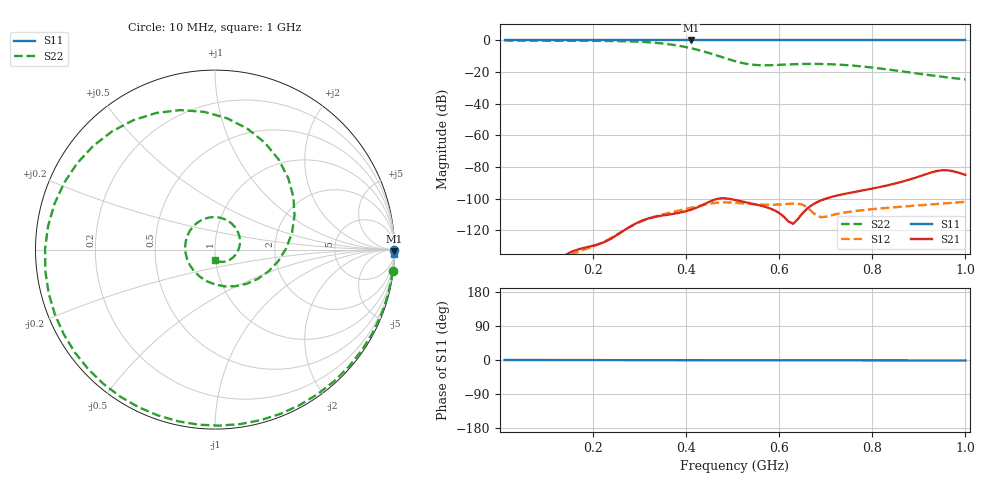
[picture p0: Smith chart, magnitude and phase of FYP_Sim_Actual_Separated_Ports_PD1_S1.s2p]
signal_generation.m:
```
%% FYP PD DATA PIPELINE: MASTER GENERATION CONTROLLER
% Orchestrates the mass generation of HDF5 shards.
% Compliant with MLOps DAG Architecture v3.0

clear; clc;
rng('shuffle'); % Seeds the random number generator based on the current time

%% 1. Master Configuration & Lineage Setup
num_shards = 20;
scenes_per_shard = 20;
nickname = 'First try at an actual dataset'; % User-defined nickname

fprintf('Initializing Master Data Generation...\n');

% Generate 4-character RootID
chars = ['a':'z', 'A':'Z', '0':'9'];
root_id = chars(randi(length(chars), 1, 4));

% Generate Timestamp and Folder Path
timestamp = datestr(now, 'yyyymmdd_HHMMSS');
folder_name = sprintf('%s_sy-%s-%s', timestamp, root_id, root_id);
output_dir = fullfile('..', '..', 'data', 'raw', 'synthesised', folder_name);

if ~exist(output_dir, 'dir')
    mkdir(output_dir);
end

% Create Verbose History Log
history_log = sprintf('Synthetic dataset [Nickname: %s] generated at %s, RootID: %s', ...
    nickname, datestr(now, 'yyyy-mm-dd HH:MM:SS'), root_id);

% Drop a standalone text ledger into the directory
fid = fopen(fullfile(output_dir, 'analysis_history.txt'), 'w');
fprintf(fid, '%s\n', history_log);
fclose(fid);

% =========================================================================
% NEW: SQLite Ledger Integration via System Terminal
% =========================================================================
fprintf('Registering dataset to SQLite Master Ledger...\n');

% Path to your python script
tracker_script = fullfile('..', '..', 'src', 'utils', 'lineage_tracker.py');

% Build the terminal command (using double quotes to handle spaces in strings)
cmd = sprintf('python "%s" --action register_root --origin "sy" --method "generation" --folder_path "%s" --nickname "%s" --history_log "%s" --root_id "%s" --timestamp "%s"', ...
    tracker_script, output_dir, nickname, history_log, root_id, timestamp);

% Execute the command in the OS terminal
[status, cmdout] = system(cmd);

if status == 0
    fprintf('Successfully registered Node %s to SQLite Database.\n', root_id);
else
    warning('SQLite Registration Failed. Python error trace:\n%s', cmdout);
end
% =========================================================================

fprintf('Lineage Established. Target Directory: %s\n', folder_name);

%% 2. Probabilistic Global Noise Floor Calculation
expected_amplitude_A = (1.0 + 1.5) / 2; % 1.25 A expected average
expected_width_ns = (0.95 + 1.15) / 2;  % 1.05 ns expected average

fprintf('Calculating absolute noise floor based on expected %.2f A pulse...\n', expected_amplitude_A);

try
    % Routed to the new touchstone_files directory
    s2p_path = fullfile('..', '..', 'data', 'touchstone_files', 'FYP_Sim_Actual_Separated_Ports_PD1_S1.s2p');
    S_data = sparameters(s2p_path);
    Z_data = s2z(S_data.Parameters, S_data.Impedance);
    Z_transfer = squeeze(Z_data(2, 1, :)) ./ (1 + (squeeze(Z_data(2, 2, :)) / 50));
    
    dt = 0.01e-9;
    t_base = 0:dt:1000e-9;
    N_fft = length(t_base);
    Fs = 1 / dt;
    
    t0 = 70e-9;
    sigma = (expected_width_ns * 1e-9) / 2.355; 
    i_avg = expected_amplitude_A * exp(-((t_base - t0).^2) / (2 * sigma^2));
    I_freq = fft(i_avg, N_fft);
    
    freq_Hz = S_data.Frequencies;
    f_half = (0:floor(N_fft/2)) * (Fs/N_fft);
    Z_half = interp1(freq_Hz, Z_transfer, f_half, 'linear', 0).'; 
    Z_tf_fft = zeros(1, N_fft);
    Z_tf_fft(1:length(Z_half)) = Z_half;
    Z_tf_fft(length(Z_half)+1:end) = conj(flip(Z_half(2:ceil(N_fft/2))));
    
    V_out_freq = I_freq .* Z_tf_fft;
    
    cutoff_bins = round(10e6 / (Fs/N_fft)); 
    V_out_freq(1:cutoff_bins) = 0;
    V_out_freq(end-cutoff_bins+1:end) = 0; 
    
    ref_peak_v = max(abs(real(ifft(V_out_freq))));
    fprintf('Success. Global Reference Peak Voltage locked at: %.5f V\n\n', ref_peak_v);
    
catch ME
    ref_peak_v = 0.005; 
    fprintf('S-parameter file missing for physics projection. Using default reference: %.5f V\n\n', ref_peak_v);
end

%% 3. Execute the Data Factory
fprintf('Orchestrating generation of %d shards (%d scenes each)...\n', num_shards, scenes_per_shard);

% NEW: Initialize the master tracker before the loop starts
current_global_pulse_id = 0; 

for i = 1:num_shards
    % NEW: Pass the ID in, and catch the updated ID when the function finishes
    current_global_pulse_id = generate_pd_shard(i, scenes_per_shard, output_dir, ...
                              ref_peak_v, root_id, nickname, timestamp, history_log, ...
                              current_global_pulse_id);
end

fprintf('=== Master Generation Complete! %d total scenes saved to %s ===\n', num_shards * scenes_per_shard, output_dir);
```
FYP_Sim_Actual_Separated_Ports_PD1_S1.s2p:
! Touchstone file from project FYP_Sim_Actual_Separated_Ports
! Exported from HFSS 13.0.2
# GHZ S MA R 50.000000
! Terminal data exported
! Port[1] = PD1_Void_Port_T1
! Port[2] = Radiating_Plate_T1
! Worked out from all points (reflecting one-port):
!   100 points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, 10 MHz to 1 GHz, reference 50 ohm
!   lowest |S11| = 0.0 dB at 410 MHz (marker M1)
!   phase of S11 starts at -0 deg and turns -1 deg over the sweep
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0.01  1 -0.0  8.799e-11 143.8  8.799e-11 143.8  0.9984 -7.0
0.08  1 -0.1  8.324e-09 -108.6  8.325e-09 -108.5  0.9877 -54.7
0.13  1 -0.2  1.265e-07 -36.5  1.01e-07 -74.0  0.981 -88.5
0.19  1 -0.3  3.019e-07 2.4  2.735e-07 -3.2  0.9727 -129.6
0.25  1 -0.3  6.9e-07 89.9  7.201e-07 90.0  0.953 -172.8
0.34  1 -0.4  2.787e-06 -141.4  2.919e-06 -140.7  0.8285 113.2
0.41  1 -0.5  4.455e-06 -60.0  5.147e-06 -56.3  0.5707 44.4
0.51  1 -0.7  8.781e-06 109.1  7.35e-06 87.3  0.2123 -74.8
0.58  1 -0.8  4.938e-06 128.1  6.448e-06 162.9  0.1652 -173.4
0.67  1 -0.9  6.257e-06 -59.2  3.902e-06 -10.0  0.1818 100.5
1  1 -1.3  5.679e-05 124.6  7.976e-06 -124.6  0.05862 -91.2
